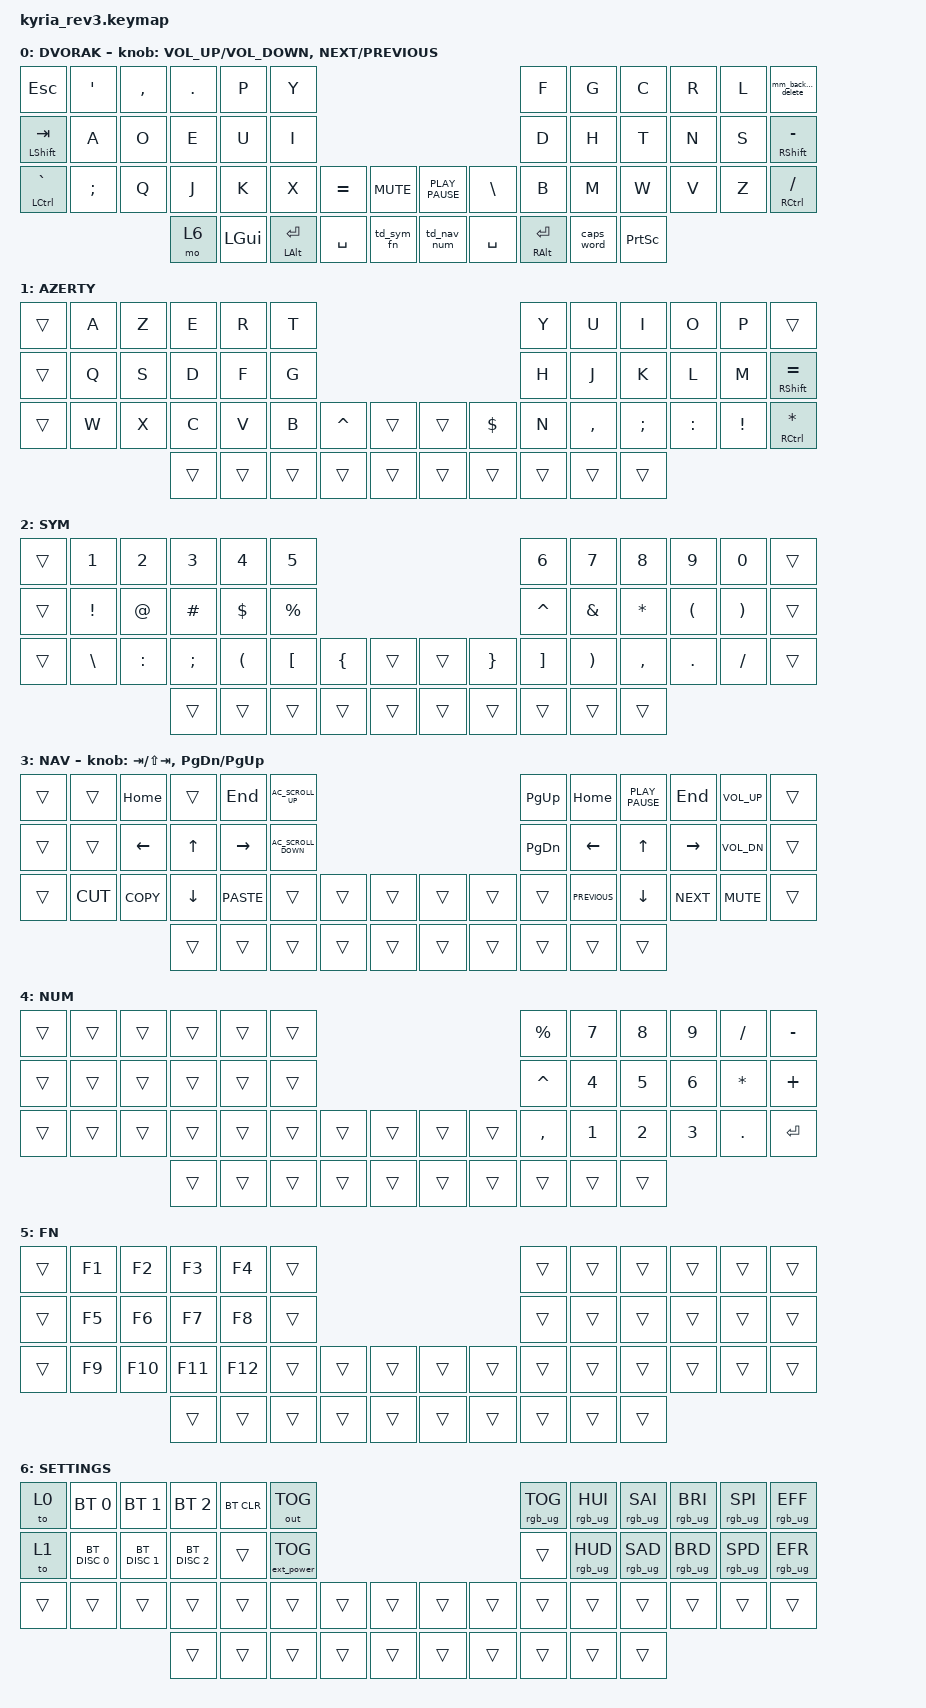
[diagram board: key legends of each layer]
/*
 * Copyright (c) 2023 The ZMK Contributors
 *
 * SPDX-License-Identifier: MIT
 */

#include <behaviors.dtsi>
#include <dt-bindings/led/led.h>
#include <dt-bindings/zmk/bt.h>
#include <dt-bindings/zmk/ext_power.h>
#include <dt-bindings/zmk/keys.h>
#include <dt-bindings/zmk/outputs.h>
#include <dt-bindings/zmk/rgb.h>

&pinctrl {
    spi3_default: spi3_default {
        group1 {
            psels = <NRF_PSEL(SPIM_MOSI, 0, 6)>;
        };
    };

    spi3_sleep: spi3_sleep {
        group1 {
            psels = <NRF_PSEL(SPIM_MOSI, 0, 6)>;
            low-power-enable;
        };
    };
};

&spi3 {
    compatible = "nordic,nrf-spim";
    status = "okay";
    pinctrl-0 = <&spi3_default>;
    pinctrl-1 = <&spi3_sleep>;
    pinctrl-names = "default", "sleep";

    led_strip: ws2812@0 {
        compatible = "worldsemi,ws2812-spi";

        /* SPI */

        reg = <0>; /* ignored, but necessary for SPI bindings */
        spi-max-frequency = <4000000>;

        /* WS2812 */

        chain-length = <6>; /* number of LEDs */
        spi-one-frame = <0x70>;
        spi-zero-frame = <0x40>;
        color-mapping = <LED_COLOR_ID_GREEN LED_COLOR_ID_RED LED_COLOR_ID_BLUE>;
    };
};

/*&led_strip {
    chain-length = <6>;
    // chain-length = <31>; // Uncomment if using both per-key and underglow LEDs
    // chain-length = <25>; // Uncomment if using only per-key LEDs.
};*/

/ {
    behaviors {
        mm_backspace_delete: mm_backspace_delete {
            compatible = "zmk,behavior-mod-morph";
            label = "MM_BACKSPACE_DELETE";
            bindings = <&kp BACKSPACE>, <&kp DELETE>;

            #binding-cells = <0>;
            mods = <(MOD_LALT|MOD_RALT)>;
            keep-mods = <(MOD_LALT)>;
        };

        td_sym_fn: td_sym_fn {
            compatible = "zmk,behavior-tap-dance";
            label = "TD_SYM_FN";
            #binding-cells = <0>;
            bindings = <&mo 2>, <&mo 5>;
        };

        td_nav_num: td_nav_num {
            compatible = "zmk,behavior-tap-dance";
            label = "TD_NAV_NUM";
            #binding-cells = <0>;
            bindings = <&mo 3>, <&tog 4>;
        };
    };

    keymap {
        compatible = "zmk,keymap";

        DVORAK {
            // ---------------------------------------------------------------------------------------------------------------------------------
            // |  ESC  |  Q  |  W  |  E   |  R   |  T   |                                          |  Y   |  U    |  I    |  O   |   P   |   \  |
            // |  TAB  |  A  |  S  |  D   |  F   |  G   |                                          |  H   |  J    |  K    |  L   |   ;   |   '  |
            // | SHIFT |  Z  |  X  |  C   |  V   |  B   | L SHIFT | L SHIFT |  | LAYER 1 | L SHIFT |  N   |  M    |  ,    |  .   |   /   | CTRL |
            //                     | GUI  | DEL  | RET  |  SPACE  |   ESC   |  |   RET   |  SPACE  | TAB  | BSPC  | R-ALT |

            bindings = <
&kp ESC                 &kp APOSTROPHE  &kp COMMA  &kp DOT  &kp P         &kp Y                                                                       &kp F                &kp G       &kp C            &kp R  &kp L  &mm_backspace_delete
&mt LEFT_SHIFT TAB      &kp A           &kp O      &kp E    &kp U         &kp I                                                                       &kp D                &kp H       &kp T            &kp N  &kp S  &mt RIGHT_SHIFT MINUS
&mt LEFT_CONTROL GRAVE  &kp SEMICOLON   &kp Q      &kp J    &kp K         &kp X               &kp EQUAL  &kp K_MUTE  &kp K_PLAY_PAUSE  &kp BACKSLASH  &kp B                &kp M       &kp W            &kp V  &kp Z  &mt RIGHT_CONTROL SLASH
                                                   &mo 6    &kp LEFT_GUI  &mt LEFT_ALT ENTER  &kp SPACE  &td_sym_fn  &td_nav_num       &kp SPACE      &mt RIGHT_ALT ENTER  &caps_word  &kp PRINTSCREEN
            >;

            sensor-bindings =
                <&inc_dec_kp C_VOLUME_UP C_VOLUME_DOWN>,
                <&inc_dec_kp K_NEXT K_PREVIOUS>;

            label = "DVORAK";
        };

        AZERTY {
            // ---------------------------------------------------------------------------------------------------------------------------------
            // |       |      |BT_CLR|BTSEL0|BTSEL1|BTSEL2|                                         |      |      |      |      |      |      |
            // |       |      |      |BTSEL3|BTSEL4|      |                                         |      |      |      |      |      |      |
            // |       |      |      |      |      |      |      |      |      |      |      |      |      |      |      |      |      |      |
            //                       |      |      |      |      |      |      |      |      |      |      |      |      |

            bindings = <
&trans  &kp A  &kp Z  &kp E   &kp R   &kp T                                          &kp Y   &kp U      &kp I     &kp O      &kp P     &trans
&trans  &kp Q  &kp S  &kp D   &kp F   &kp G                                          &kp H   &kp J      &kp K     &kp L      &kp M     &mt RIGHT_SHIFT EQUAL
&trans  &kp W  &kp X  &kp C   &kp V   &kp B   &kp CARET  &trans  &trans  &kp DOLLAR  &kp N   &kp COMMA  &kp SEMI  &kp COLON  &kp EXCL  &mt RIGHT_CONTROL ASTERISK
                      &trans  &trans  &trans  &trans     &trans  &trans  &trans      &trans  &trans     &trans
            >;

            label = "AZERTY";
        };

        SYM {
            bindings = <
&trans  &kp N1    &kp N2     &kp N3     &kp N4                &kp N5                                                  &kp N6             &kp N7    &kp N8     &kp N9    &kp N0    &trans
&trans  &kp EXCL  &kp AT     &kp POUND  &kp DLLR              &kp PERCENT                                             &kp CARET          &kp AMPS  &kp STAR   &kp LPAR  &kp RPAR  &trans
&trans  &kp BSLH  &kp COLON  &kp SEMI   &kp LEFT_PARENTHESIS  &kp LBKT     &kp LBRC  &trans  &trans  &kp RIGHT_BRACE  &kp RIGHT_BRACKET  &kp RPAR  &kp COMMA  &kp DOT   &kp FSLH  &trans
                             &trans     &trans                &trans       &trans    &trans  &trans  &trans           &trans             &trans    &trans
            >;

            label = "SYM";
        };

        NAV {
            bindings = <
&trans  &trans     &kp HOME        &trans          &kp END      &kp C_AC_SCROLL_UP                                    &kp PAGE_UP    &kp HOME        &kp K_PLAY_PAUSE  &kp END          &kp C_VOLUME_UP  &trans
&trans  &trans     &kp LEFT_ARROW  &kp UP_ARROW    &kp RIGHT    &kp C_AC_SCROLL_DOWN                                  &kp PAGE_DOWN  &kp LEFT_ARROW  &kp UP_ARROW      &kp RIGHT_ARROW  &kp C_VOL_DN     &trans
&trans  &kp K_CUT  &kp K_COPY      &kp DOWN_ARROW  &kp K_PASTE  &trans                &trans  &trans  &trans  &trans  &trans         &kp K_PREVIOUS  &kp DOWN_ARROW    &kp K_NEXT       &kp K_MUTE       &trans
                                   &trans          &trans       &trans                &trans  &trans  &trans  &trans  &trans         &trans          &trans
            >;

            label = "NAV";
            sensor-bindings =
                <&inc_dec_kp TAB LS(TAB)>,
                <&inc_dec_kp PAGE_DOWN PAGE_UP>;
        };

        NUM {
            bindings = <
&trans  &trans  &trans  &trans  &trans  &trans                                  &kp PERCENT  &kp N7  &kp N8  &kp N9  &kp SLASH     &kp MINUS
&trans  &trans  &trans  &trans  &trans  &trans                                  &kp CARET    &kp N4  &kp N5  &kp N6  &kp ASTERISK  &kp PLUS
&trans  &trans  &trans  &trans  &trans  &trans  &trans  &trans  &trans  &trans  &kp COMMA    &kp N1  &kp N2  &kp N3  &kp DOT       &kp RET
                        &trans  &trans  &trans  &trans  &trans  &trans  &trans  &trans       &trans  &trans
            >;

            label = "NUM";
        };

        FN {
            bindings = <
&trans  &kp F1  &kp F2   &kp F3   &kp F4   &trans                                  &trans  &trans  &trans  &trans  &trans  &trans
&trans  &kp F5  &kp F6   &kp F7   &kp F8   &trans                                  &trans  &trans  &trans  &trans  &trans  &trans
&trans  &kp F9  &kp F10  &kp F11  &kp F12  &trans  &trans  &trans  &trans  &trans  &trans  &trans  &trans  &trans  &trans  &trans
                         &trans   &trans   &trans  &trans  &trans  &trans  &trans  &trans  &trans  &trans
            >;

            label = "FN";
        };

        SETTINGS {
            bindings = <
&to 0   &bt BT_SEL 0   &bt BT_SEL 1   &bt BT_SEL 2   &bt BT_CLR  &out OUT_TOG                                       &rgb_ug RGB_TOG  &rgb_ug RGB_HUI  &rgb_ug RGB_SAI  &rgb_ug RGB_BRI  &rgb_ug RGB_SPI  &rgb_ug RGB_EFF
&to 1   &bt BT_DISC 0  &bt BT_DISC 1  &bt BT_DISC 2  &trans      &ext_power EP_TOG                                  &trans           &rgb_ug RGB_HUD  &rgb_ug RGB_SAD  &rgb_ug RGB_BRD  &rgb_ug RGB_SPD  &rgb_ug RGB_EFR
&trans  &trans         &trans         &trans         &trans      &trans             &trans  &trans  &trans  &trans  &trans           &trans           &trans           &trans           &trans           &trans
                                      &trans         &trans      &trans             &trans  &trans  &trans  &trans  &trans           &trans           &trans
            >;

            label = "SETTINGS";
        };
    };

    conditional_layers {
        compatible = "zmk,conditional-layers";
    };
};
